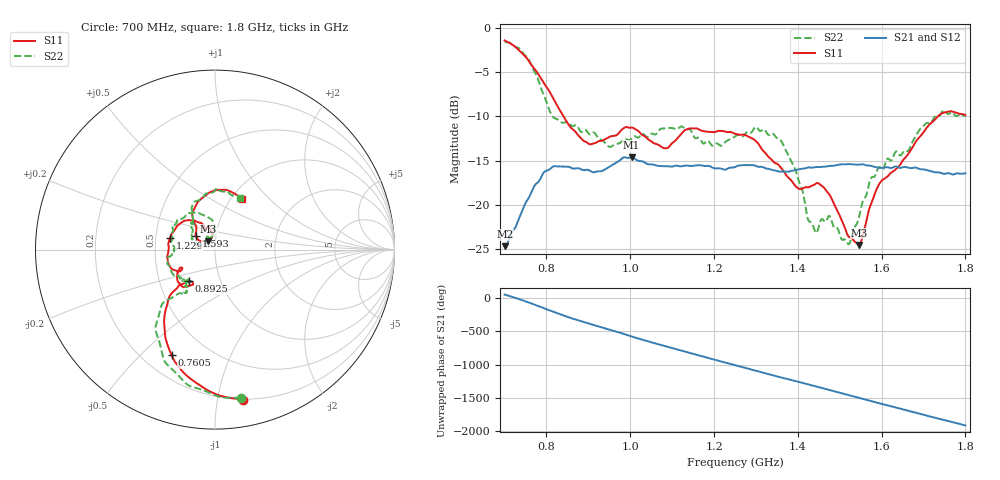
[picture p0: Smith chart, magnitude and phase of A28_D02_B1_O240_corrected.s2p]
! Created with skrf 1.9.0 (http://scikit-rf.org).
# Hz S RI R 50.0
!freq ReS11 ImS11 ReS21 ImS21 ReS12 ImS12 ReS22 ImS22
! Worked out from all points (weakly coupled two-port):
!   1601 points, 700 MHz to 1.8 GHz, reference 50 ohm
!   highest |S21| = -14.61 dB at 1.003 GHz (marker M1); lowest = -24.7 dB at 700.7 MHz (marker M2)
!   lowest |S11| = -24.5 dB at 1.547 GHz (marker M3), VSWR 1.13, Z = 46.2 + j4.27 ohm
!   |S11| at or under -10 dB: 840.4 MHz to 1.734 GHz (893.7 MHz wide, 69.4 % of centre)
!   |S22| runs from -24.5 to -1.5 dB; largest |S21 - S12| = 0.0034
!   S11 on the Smith chart (normalised r, x): 700 MHz: 0.20, -1.19; 760.5 MHz: 0.32, -0.62; 892.5 MHz: 0.71, -0.26; 1.229 GHz: 0.59, +0.08; 1.593 GHz: 0.80, +0.12; 1.8 GHz: 1.12, +0.71
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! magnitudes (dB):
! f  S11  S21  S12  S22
! 700 MHz  -1.4  -24.7  -24.5  -1.5
! 700.7 MHz  -1.4  -24.7  -24.4  -1.5
! 760.5 MHz  -3.9  -19.0  -18.8  -3.8
! 814.1 MHz  -7.8  -15.7  -15.8  -10.0
! 883.6 MHz  -12.5  -16.0  -15.9  -11.7
! 892.5 MHz  -12.9  -16.1  -16.1  -11.5
! 950.2 MHz  -12.3  -15.7  -15.7  -13.4
! 1.003 GHz  -11.3  -14.6  -14.7  -12.5
! 1.067 GHz  -13.2  -15.6  -15.5  -11.7
! 1.229 GHz  -11.7  -16.0  -15.9  -12.8
! 1.25 GHz  -12.0  -15.7  -15.6  -12.3
! 1.3 GHz  -12.8  -15.6  -15.6  -11.2
! 1.359 GHz  -15.7  -16.2  -16.2  -12.7
! 1.401 GHz  -18.1  -16.0  -16.0  -17.1
! 1.434 GHz  -17.8  -15.8  -15.8  -22.1
! 1.476 GHz  -18.9  -15.6  -15.6  -21.3
! 1.521 GHz  -23.6  -15.4  -15.4  -24.5
! 1.547 GHz  -24.5  -15.4  -15.4  -21.2
! 1.593 GHz  -17.7  -15.8  -15.8  -15.8
! 1.617 GHz  -16.6  -15.8  -15.7  -14.8
! 1.738 GHz  -9.8  -16.3  -16.4  -9.9
! 1.8 GHz  -9.8  -16.4  -16.4  -9.9
